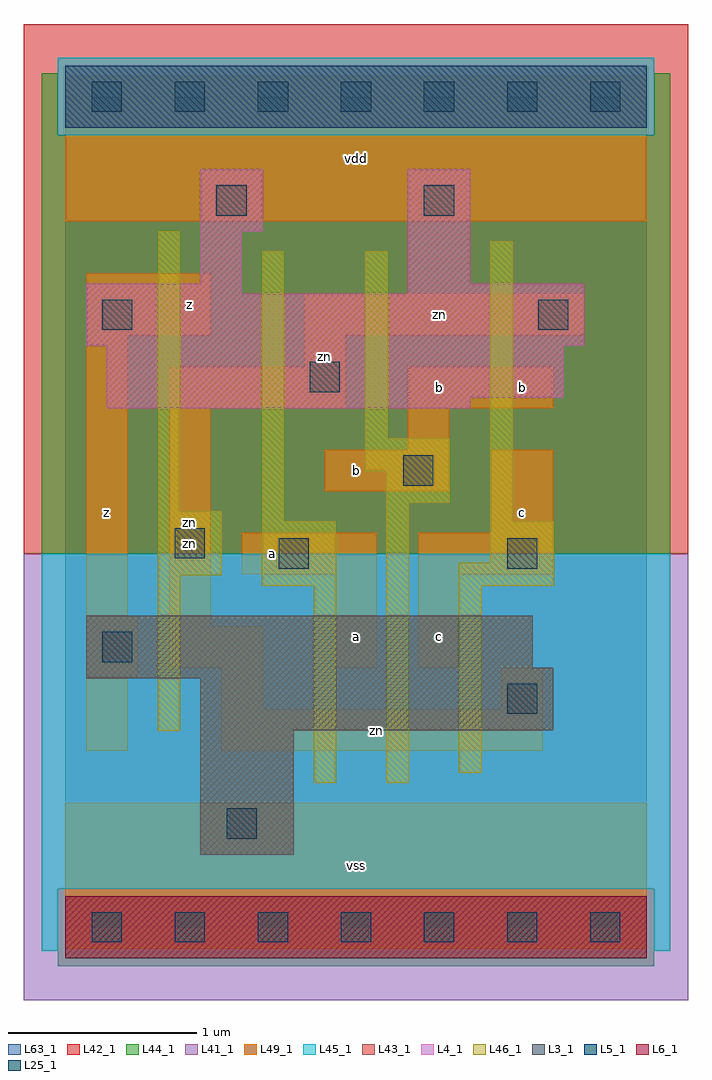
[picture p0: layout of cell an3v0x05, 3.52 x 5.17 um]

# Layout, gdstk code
import gdstk
lib = gdstk.Library(unit=1e-6, precision=1e-09)
def R(c, l, rs):  # rectangles x0, y0, x1, y1
    for r in rs: c.add(gdstk.rectangle(r[:2], r[2:], *l))
def A(c, l, x, y, w, h, nx, ny, dx, dy):  # array of equal rectangles
    R(c, l, [(x+i*dx, y+j*dy, x+i*dx+w, y+j*dy+h) for i in range(nx) for j in range(ny)])
L3_1 = (3, 1)
L4_1 = (4, 1)
L5_1 = (5, 1)
L6_1 = (6, 1)
L25_1 = (25, 1)
L41_1 = (41, 1)
L42_1 = (42, 1)
L43_1 = (43, 1)
L44_1 = (44, 1)
L45_1 = (45, 1)
L46_1 = (46, 1)
L49_1 = (49, 1)
L63_1 = (63, 1)

an3v0x05 = lib.new_cell('an3v0x05')
R(an3v0x05, L3_1, [(0.715,0.385,1.21,1.045), (0.715,1.045,2.585,1.32), (0.11,1.32,2.585,1.375), (0.11,1.375,2.475,1.65)])
R(an3v0x05, L4_1, [(0.22,2.75,2.145,2.805), (0.22,2.805,2.64,3.08), (0.11,3.08,2.75,3.355), (0.11,3.355,0.935,3.41), (1.815,3.355,2.75,3.41), (0.715,3.41,0.935,3.685), (1.815,3.41,2.145,4.015), (0.715,3.685,1.045,4.015)])
R(an3v0x05, L5_1, [(0,4.235,3.08,4.565)])
R(an3v0x05, L6_1, [(0,-0.165,3.08,0.165)])
A(an3v0x05, L25_1, 0.14, -0.08, 0.16, 0.16, 7, 2, 0.44, 4.4)
R(an3v0x05, L25_1, [(0.855,0.47,1.015,0.63), (2.34,1.13,2.5,1.29), (0.195,1.405,0.355,1.565), (1.13,1.9,1.29,2.06), (2.34,1.9,2.5,2.06), (0.58,1.955,0.74,2.115), (1.79,2.34,1.95,2.5), (1.295,2.835,1.455,2.995), (0.195,3.165,0.355,3.325), (2.505,3.165,2.665,3.325), (0.8,3.77,0.96,3.93), (1.9,3.77,2.06,3.93)])
R(an3v0x05, L41_1, [(-0.22,-0.385,3.3,1.98)])
R(an3v0x05, L42_1, [(-0.22,1.98,3.3,4.785)])
R(an3v0x05, L43_1, [(0,-0.165,3.08,0.165), (0.715,0.385,1.21,1.045), (0.715,1.045,2.585,1.32), (0.11,1.32,2.585,1.375), (0.11,1.375,2.475,1.65), (0.22,2.75,2.145,2.805), (0.22,2.805,2.64,3.08), (0.11,3.08,2.75,3.355), (0.11,3.355,0.935,3.41), (1.815,3.355,2.75,3.41), (0.715,3.41,0.935,3.685), (1.815,3.41,2.145,4.015), (0.715,3.685,1.045,4.015), (0,4.235,3.08,4.565)])
R(an3v0x05, L44_1, [(-0.04,-0.205,3.12,0.205), (-0.125,1.98,3.205,4.195), (-0.125,4.195,-0.04,4.525), (3.12,4.195,3.205,4.525)])
R(an3v0x05, L45_1, [(-0.125,-0.125,-0.04,0.205), (3.12,-0.125,3.205,0.205), (-0.125,0.205,3.205,1.98), (-0.04,4.195,3.12,4.605)])
R(an3v0x05, L46_1, [(1.315,0.765,1.435,1.81), (1.7,0.765,1.82,2.25), (2.085,0.82,2.205,1.81), (0.49,1.04,0.61,1.865), (1.04,1.81,1.435,2.15), (2.085,1.81,2.59,1.93), (0.49,1.865,0.83,2.205), (2.25,1.93,2.59,2.15), (1.04,2.15,1.16,3.58), (2.25,2.15,2.37,3.635), (0.49,2.205,0.61,3.69), (1.7,2.25,2.04,2.415), (1.59,2.415,2.04,2.59), (1.59,2.59,1.71,3.58)])
R(an3v0x05, L49_1, [(0,-0.11,3.08,0.66), (0.11,0.935,0.33,1.32), (0.825,0.935,2.53,1.155), (0.825,1.155,1.045,1.375), (2.31,1.155,2.53,1.375), (0.11,1.32,0.385,1.65), (0.55,1.375,1.045,1.595), (1.43,1.375,1.65,1.87), (1.87,1.375,2.09,1.87), (0.55,1.595,0.77,2.75), (0.11,1.65,0.33,3.135), (0.935,1.87,1.65,2.09), (1.87,1.87,2.585,2.09), (2.255,2.09,2.585,2.53), (1.375,2.31,2.035,2.53), (1.815,2.53,2.035,2.75), (0.55,2.75,1.485,2.97), (1.815,2.75,2.585,2.97), (1.265,2.97,1.485,3.135), (0.11,3.135,0.77,3.465), (1.265,3.135,2.75,3.355), (0,3.74,3.08,4.51)])
R(an3v0x05, L63_1, [(0,0,3.08,4.4)])
an3v0x05.add(gdstk.Label('zn', (0.66,2.035), layer=49, texttype=1))
an3v0x05.add(gdstk.Label('z', (0.22,2.2), layer=49, texttype=1))
an3v0x05.add(gdstk.Label('zn', (0.66,2.145), layer=49, texttype=1))
an3v0x05.add(gdstk.Label('z', (0.66,3.3), layer=49, texttype=1))
an3v0x05.add(gdstk.Label('vss', (1.54,0.33), layer=49, texttype=1))
an3v0x05.add(gdstk.Label('a', (1.54,1.54), layer=49, texttype=1))
an3v0x05.add(gdstk.Label('a', (1.1,1.98), layer=49, texttype=1))
an3v0x05.add(gdstk.Label('b', (1.54,2.42), layer=49, texttype=1))
an3v0x05.add(gdstk.Label('zn', (1.375,3.025), layer=49, texttype=1))
an3v0x05.add(gdstk.Label('vdd', (1.54,4.07), layer=49, texttype=1))
an3v0x05.add(gdstk.Label('c', (1.98,1.54), layer=49, texttype=1))
an3v0x05.add(gdstk.Label('zn', (1.65,1.045), layer=49, texttype=1))
an3v0x05.add(gdstk.Label('c', (2.42,2.2), layer=49, texttype=1))
an3v0x05.add(gdstk.Label('b', (2.42,2.86), layer=49, texttype=1))
an3v0x05.add(gdstk.Label('b', (1.98,2.86), layer=49, texttype=1))
an3v0x05.add(gdstk.Label('zn', (1.98,3.245), layer=49, texttype=1))

lib.write_gds('an3v0x05.gds')
